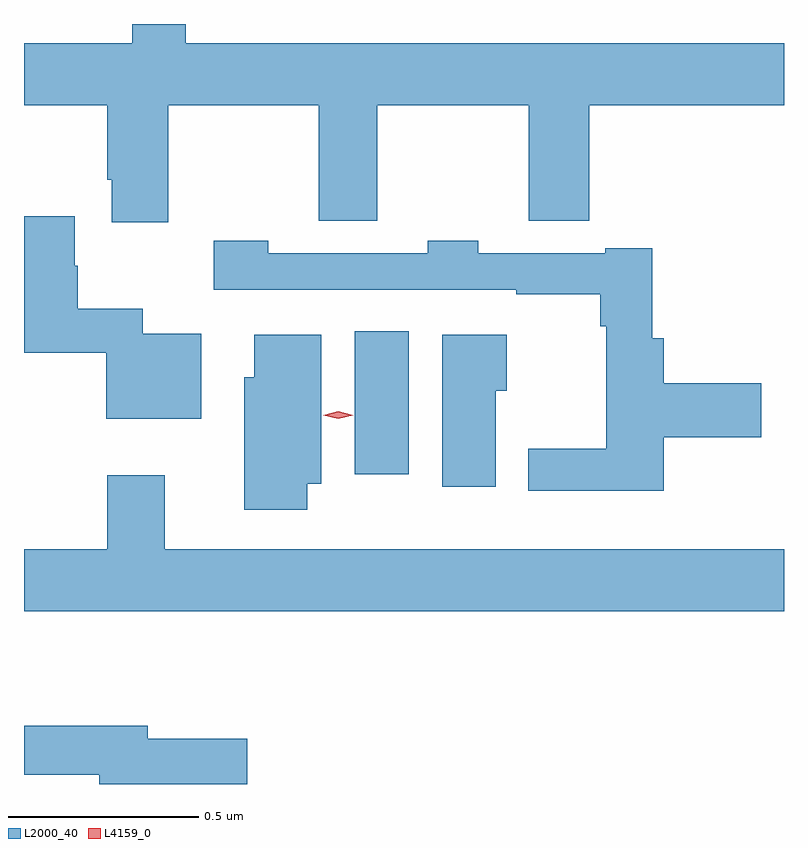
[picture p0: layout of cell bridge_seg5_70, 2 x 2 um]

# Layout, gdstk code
import gdstk
lib = gdstk.Library(unit=1e-6, precision=1e-09)
def R(c, l, rs):  # rectangles x0, y0, x1, y1
    for r in rs: c.add(gdstk.rectangle(r[:2], r[2:], *l))
def P(c, l, *ps):  # polygons
    for p in ps: c.add(gdstk.Polygon(p, *l))
L2000_40 = (2000, 40)
L4159_0 = (4159, 0)

bridge_seg5_70 = lib.new_cell('bridge_seg5_70')
R(bridge_seg5_70, L2000_40, [(143.594,846.465,143.737,846.841)])
P(bridge_seg5_70, L2000_40, [(143.103,847.436),(143.5,847.436),(143.5,847.132),(143.654,847.132),(143.654,847.436),(144.052,847.436),(144.052,847.132),(144.212,847.132),(144.212,847.436),(144.724,847.436),(144.724,847.6),(143.149,847.6),(143.149,847.65),(143.009,847.65),(143.009,847.6),(142.724,847.6),(142.724,847.436),(142.943,847.436),(142.943,847.24),(142.955,847.24),(142.955,847.128),(143.103,847.128)],
  [(143.191,846.835),(143.037,846.835),(143.037,846.901),(142.866,846.901),(142.866,847.014),(142.858,847.014),(142.858,847.144),(142.724,847.144),(142.724,846.785),(142.941,846.785),(142.941,846.611),(143.191,846.611)],
  [(144.407,846.562),(144.664,846.562),(144.664,846.704),(144.407,846.704),(144.407,846.823),(144.377,846.823),(144.377,847.06),(144.254,847.06),(144.254,847.047),(143.919,847.047),(143.919,847.08),(143.787,847.08),(143.787,847.047),(143.367,847.047),(143.367,847.08),(143.223,847.08),(143.223,846.951),(144.019,846.951),(144.019,846.939),(144.241,846.939),(144.241,846.854),(144.256,846.854),(144.256,846.532),(144.051,846.532),(144.051,846.422),(144.407,846.422)],
  [(143.469,846.44),(143.506,846.44),(143.506,846.832),(143.33,846.832),(143.33,846.72),(143.303,846.72),(143.303,846.372),(143.469,846.372)],
  [(143.965,846.685),(143.995,846.685),(143.995,846.832),(143.825,846.832),(143.825,846.432),(143.965,846.432)],
  [(144.724,846.268),(143.095,846.268),(143.095,846.463),(142.943,846.463),(142.943,846.268),(142.724,846.268),(142.724,846.104),(144.724,846.104)],
  [(143.311,845.769),(143.05,845.769),(143.05,845.803),(142.724,845.803),(142.724,845.674),(142.922,845.674),(142.922,845.65),(143.311,845.65)])
P(bridge_seg5_70, L4159_0, [(143.551,846.611),(143.511,846.62),(143.511,846.62),(143.511,846.62),(143.551,846.631),(143.591,846.621),(143.591,846.621),(143.591,846.621)])

lib.write_gds('bridge_seg5_70.gds')
